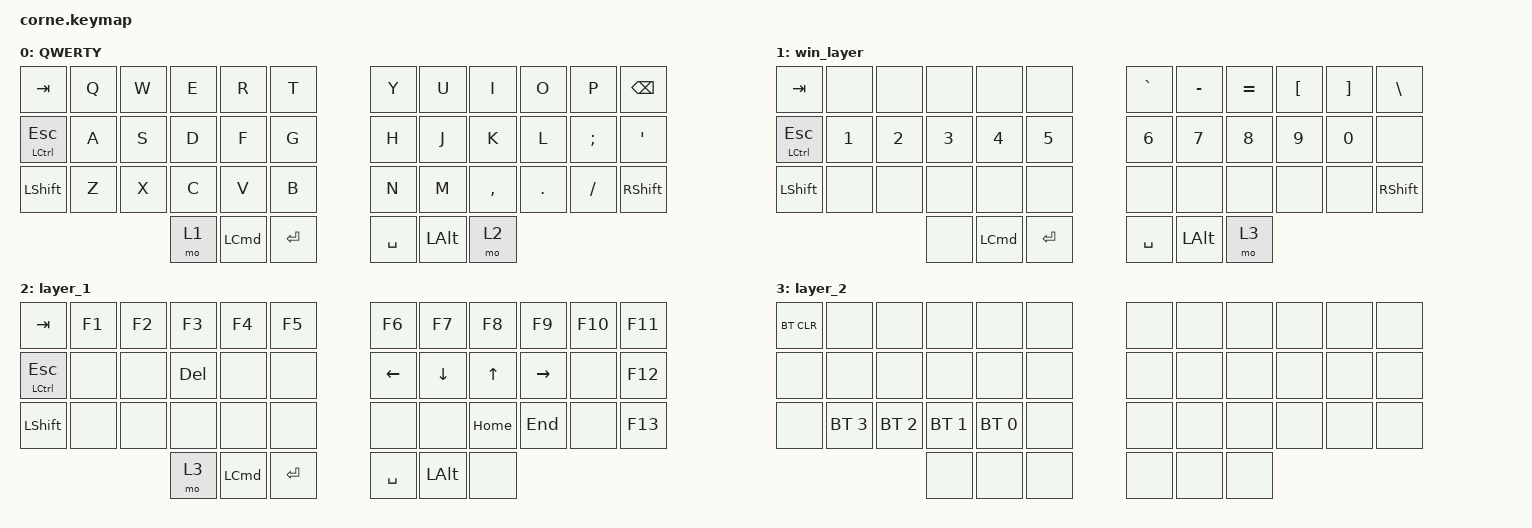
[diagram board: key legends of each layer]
/*
 * Copyright (c) 2020 The ZMK Contributors
 *
 * SPDX-License-Identifier: MIT
 */

#include <behaviors.dtsi>
#include <dt-bindings/zmk/bt.h>
#include <dt-bindings/zmk/keys.h>

/ {
    combos {
        compatible = "zmk,combos";

        combo1 {
            bindings = <&kp BACKSPACE>;
            key-positions = <9 10>;
        };

        combo2 {
            bindings = <&kp ENTER>;
            key-positions = <21 22>;
        };

        combo4 {
            bindings = <&kp ESCAPE>;
            key-positions = <1 0>;
        };

        combo5 {
            bindings = <&kp EQUAL>;
            key-positions = <21 20>;
        };

        combo6 {
            bindings = <&kp MINUS>;
            key-positions = <20 19>;
        };

        cmb5 {
            bindings = <&kp CAPS>;
            key-positions = <13 14>;
        };

        com6 {
            bindings = <&bootloader>;
            key-positions = <28 29>;
        };

        com7 {
            bindings = <&kp TAB>;
            key-positions = <26 25>;
        };
    };

    keymap {
        compatible = "zmk,keymap";

        base_layer {
            display-name = "QWERTY";
            bindings = <
&kp TAB                  &kp Q  &kp W  &kp E  &kp R             &kp T        &kp Y      &kp U         &kp I      &kp O    &kp P     &kp BACKSPACE
&mt LEFT_CONTROL ESCAPE  &kp A  &kp S  &kp D  &kp F             &kp G        &kp H      &kp J         &kp K      &kp L    &kp SEMI  &kp SINGLE_QUOTE
&kp LEFT_SHIFT           &kp Z  &kp X  &kp C  &kp V             &kp B        &kp N      &kp M         &kp COMMA  &kp DOT  &kp FSLH  &kp RIGHT_SHIFT
                                       &mo 1  &kp LEFT_COMMAND  &kp ENTER    &kp SPACE  &kp LEFT_ALT  &mo 2
            >;
        };

        win_layer {
            bindings = <
&kp TAB                  &none         &none         &none         &none             &none           &kp GRAVE     &kp MINUS     &kp EQUAL     &kp LEFT_BRACKET  &kp RIGHT_BRACKET  &kp BACKSLASH
&mt LEFT_CONTROL ESCAPE  &kp NUMBER_1  &kp NUMBER_2  &kp NUMBER_3  &kp NUMBER_4      &kp NUMBER_5    &kp NUMBER_6  &kp NUMBER_7  &kp NUMBER_8  &kp NUMBER_9      &kp NUMBER_0       &none
&kp LEFT_SHIFT           &none         &none         &none         &none             &none           &none         &none         &none         &none             &none              &kp RIGHT_SHIFT
                                                     &none         &kp LEFT_COMMAND  &kp ENTER       &kp SPACE     &kp LEFT_ALT  &mo 3
            >;
        };

        layer_1 {
            bindings = <
&kp TAB                  &kp F1  &kp F2  &kp F3   &kp F4            &kp F5       &kp F6     &kp F7        &kp F8    &kp F9     &kp F10  &kp F11
&mt LEFT_CONTROL ESCAPE  &none   &none   &kp DEL  &none             &none        &kp LEFT   &kp DOWN      &kp UP    &kp RIGHT  &none    &kp F12
&kp LEFT_SHIFT           &none   &none   &none    &none             &none        &none      &none         &kp HOME  &kp END    &none    &kp F13
                                         &mo 3    &kp LEFT_COMMAND  &kp ENTER    &kp SPACE  &kp LEFT_ALT  &none
            >;
        };

        layer_2 {
            bindings = <
&bt BT_CLR  &none         &none         &none         &none         &none    &none  &none  &none  &none  &none  &none
&none       &none         &none         &none         &none         &none    &none  &none  &none  &none  &none  &none
&none       &bt BT_SEL 3  &bt BT_SEL 2  &bt BT_SEL 1  &bt BT_SEL 0  &none    &none  &none  &none  &none  &none  &none
                                        &none         &none         &none    &none  &none  &none
            >;
        };
    };
};
